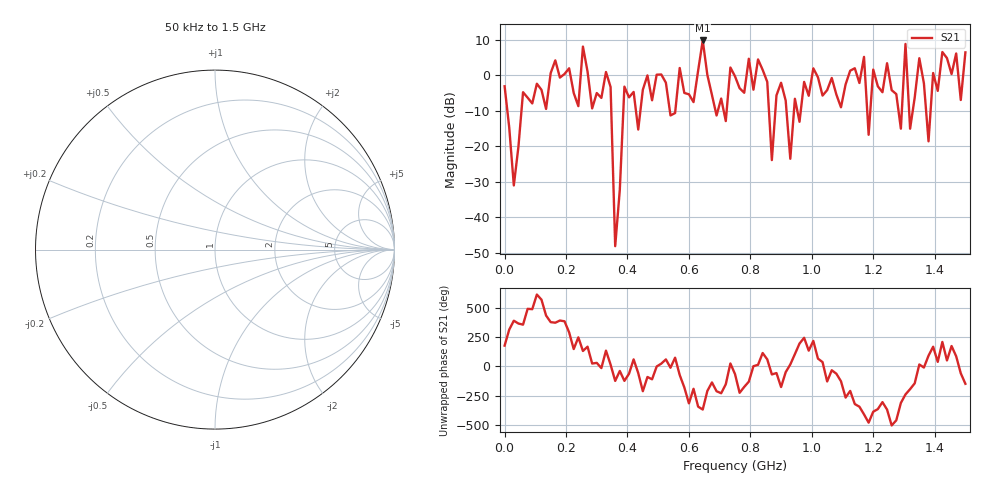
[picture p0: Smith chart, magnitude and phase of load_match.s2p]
! Created with skrf 1.8.0 (http://scikit-rf.org).
# Hz S RI R 50.0
!freq ReS11 ImS11 ReS21 ImS21 ReS12 ImS12 ReS22 ImS22
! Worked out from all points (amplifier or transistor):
!   101 points, 50 kHz to 1.5 GHz, reference 50 ohm
!   highest |S21| = 9.8 dB at 645 MHz (marker M1)
!   |S21| within 3 dB of that: 253.9 MHz to 257.8 MHz (3.862 MHz wide, 1.51 % of centre) (the widest 1 of 3)
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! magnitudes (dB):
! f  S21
! 50 kHz  -3.1
! 30.05 MHz  -31.0
! 60.05 MHz  -4.8
! 255 MHz  8.1
! 345 MHz  -3.3
! 360 MHz  -48.1
! 390 MHz  -3.2
! 510 MHz  0.2
! 645 MHz  9.8
! 750 MHz  -0.3
! 840 MHz  1.6
! 870 MHz  -23.9
! 900 MHz  -2.1
! 930 MHz  -23.5
! 1.005 GHz  2.0
! 1.26 GHz  -4.2
! 1.29 GHz  -15.0
! 1.305 GHz  8.9
! 1.32 GHz  -15.0
! 1.35 GHz  4.8
! 1.38 GHz  -18.6
! 1.5 GHz  6.5
